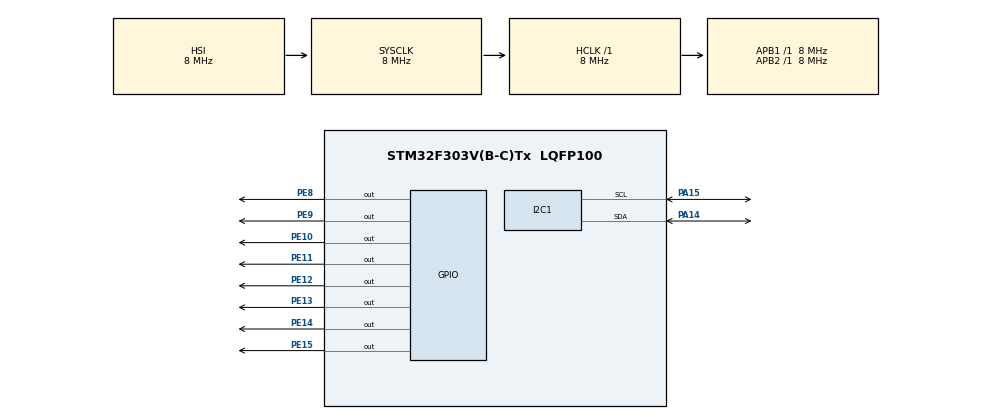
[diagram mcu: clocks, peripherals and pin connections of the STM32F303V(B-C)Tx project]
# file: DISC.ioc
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Mcu.Family=STM32F3
Mcu.Name=STM32F303V(B-C)Tx
Mcu.Package=LQFP100
NVIC.I2C1_ER_IRQn=true\:0\:0\:false\:false\:true\:true
NVIC.I2C1_EV_IRQn=true\:0\:0\:false\:false\:true\:true
NVIC.PriorityGroup=NVIC_PRIORITYGROUP_4
PA14.GPIO_PuPdOD=GPIO_NOPULL
PA14.Mode=I2C
PA14.Signal=I2C1_SDA
PA15.GPIO_PuPdOD=GPIO_NOPULL
PA15.Mode=I2C
PA15.Signal=I2C1_SCL
PE10.Signal=GPIO_Output
PE11.Signal=GPIO_Output
PE12.Signal=GPIO_Output
PE13.Signal=GPIO_Output
PE14.Signal=GPIO_Output
PE15.Signal=GPIO_Output
PE8.Signal=GPIO_Output
PE9.Signal=GPIO_Output
ProjectManager.HeapSize=0x200
ProjectManager.StackSize=0x400
ProjectManager.TargetToolchain=TrueSTUDIO
RCC.AHBFreq_Value=8000000
RCC.APB1Freq_Value=8000000
RCC.APB2Freq_Value=8000000
RCC.CortexFreq_Value=8000000
RCC.HSE_VALUE=8000000
RCC.HSI_VALUE=8000000
RCC.LSE_VALUE=32768
RCC.SYSCLKFreq_VALUE=8000000
TIM6.Period=500
TIM6.Prescaler=8000
TIM7.Period=1000
TIM7.Prescaler=8000
VP_TIM6_VS_ClockSourceINT.Mode=Enable_Timer
VP_TIM7_VS_ClockSourceINT.Mode=Enable_Timer
board=DISC

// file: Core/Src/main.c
/**
  ******************************************************************************
  * @file           : main.c
  * @brief          : Main program body
  ******************************************************************************
  ** This notice applies to any and all portions of this file
  * that are not between comment pairs USER CODE BEGIN and
  * USER CODE END. Other portions of this file, whether
  * inserted by the user or by software development tools
  * are owned by their respective copyright owners.
  *
  * COPYRIGHT(c) 2018 STMicroelectronics
  *
  * Redistribution and use in source and binary forms, with or without modification,
  * are permitted provided that the following conditions are met:
  *   1. Redistributions of source code must retain the above copyright notice,
  *      this list of conditions and the following disclaimer.
  *   2. Redistributions in binary form must reproduce the above copyright notice,
  *      this list of conditions and the following disclaimer in the documentation
  *      and/or other materials provided with the distribution.
  *   3. Neither the name of STMicroelectronics nor the names of its contributors
  *      may be used to endorse or promote products derived from this software
  *      without specific prior written permission.
  *
  * THIS SOFTWARE IS PROVIDED BY THE COPYRIGHT HOLDERS AND CONTRIBUTORS "AS IS"
  * AND ANY EXPRESS OR IMPLIED WARRANTIES, INCLUDING, BUT NOT LIMITED TO, THE
  * IMPLIED WARRANTIES OF MERCHANTABILITY AND FITNESS FOR A PARTICULAR PURPOSE ARE
  * DISCLAIMED. IN NO EVENT SHALL THE COPYRIGHT HOLDER OR CONTRIBUTORS BE LIABLE
  * FOR ANY DIRECT, INDIRECT, INCIDENTAL, SPECIAL, EXEMPLARY, OR CONSEQUENTIAL
  * DAMAGES (INCLUDING, BUT NOT LIMITED TO, PROCUREMENT OF SUBSTITUTE GOODS OR
  * SERVICES; LOSS OF USE, DATA, OR PROFITS; OR BUSINESS INTERRUPTION) HOWEVER
  * CAUSED AND ON ANY THEORY OF LIABILITY, WHETHER IN CONTRACT, STRICT LIABILITY,
  * OR TORT (INCLUDING NEGLIGENCE OR OTHERWISE) ARISING IN ANY WAY OUT OF THE USE
  * OF THIS SOFTWARE, EVEN IF ADVISED OF THE POSSIBILITY OF SUCH DAMAGE.
  *
  ******************************************************************************
  */
#include "main.h"
#include "stm32f3xx_hal.h"

I2C_HandleTypeDef hi2c1;

TIM_HandleTypeDef htim6;
TIM_HandleTypeDef htim7;

/* USER CODE BEGIN PV */
/* Private variables ---------------------------------------------------------*/

/* USER CODE END PV */

void SystemClock_Config(void);
static void MX_GPIO_Init(void);
static void MX_I2C1_Init(void);
static void MX_TIM6_Init(void);
static void MX_TIM7_Init(void);

/* USER CODE BEGIN PFP */
/* Private function prototypes -----------------------------------------------*/

/* USER CODE END PFP */

/* USER CODE BEGIN 0 */
void ClockSet(void);
void ClockRead(void);

//***********************************************
uint8_t sec[2] = {0x00, 0x00}; //секунды
uint8_t min[2] = {0x01, 0x10}; //минуты
uint8_t hour[2] = {0x02, 0x14}; //часы
uint8_t hourRX[1] = {0x02}; // часы на чтение
uint32_t i2cRX; // переменная на чтение
uint8_t i2c;
/* USER CODE END 0 */

int main(void)
{

  /* MCU Configuration----------------------------------------------------------*/

  /* Reset of all peripherals, Initializes the Flash interface and the Systick. */
  HAL_Init();

  /* Configure the system clock */
  SystemClock_Config();

  /* Initialize all configured peripherals */
  MX_GPIO_Init();
  MX_I2C1_Init();
  MX_TIM6_Init();
  MX_TIM7_Init();
  /* USER CODE BEGIN 2 */
  HAL_TIM_Base_Start(&htim6);
  HAL_TIM_Base_Start(&htim7);
  HAL_TIM_Base_Start_IT(&htim6);
  HAL_TIM_Base_Start_IT(&htim7);
  /* USER CODE END 2 */

  /* Infinite loop */
  /* USER CODE BEGIN WHILE */

  HAL_Delay(2000);
  //ClockSet();
  ClockRead();

  while (1)
  {
	  //HAL_GPIO_TogglePin(GPIOE, GPIO_PIN_8|GPIO_PIN_9|GPIO_PIN_10|GPIO_PIN_11|GPIO_PIN_12|GPIO_PIN_13|GPIO_PIN_14|GPIO_PIN_15);
	  HAL_Delay(10);
	  HAL_I2C_Master_Receive(&hi2c1, 0b1101000 << 1, &i2cRX, 2, 10);
	  i2c = (uint8_t)i2cRX;
  /* USER CODE END WHILE */

  }

}

void SystemClock_Config(void)
{

  RCC_OscInitTypeDef RCC_OscInitStruct;
  RCC_ClkInitTypeDef RCC_ClkInitStruct;
  RCC_PeriphCLKInitTypeDef PeriphClkInit;

    /**Initializes the CPU, AHB and APB busses clocks
    */
  RCC_OscInitStruct.OscillatorType = RCC_OSCILLATORTYPE_HSI;
  RCC_OscInitStruct.HSIState = RCC_HSI_ON;
  RCC_OscInitStruct.HSICalibrationValue = 16;
  RCC_OscInitStruct.PLL.PLLState = RCC_PLL_NONE;
  if (HAL_RCC_OscConfig(&RCC_OscInitStruct) != HAL_OK)
  {
    _Error_Handler(__FILE__, __LINE__);
  }

    /**Initializes the CPU, AHB and APB busses clocks
    */
  RCC_ClkInitStruct.ClockType = RCC_CLOCKTYPE_HCLK|RCC_CLOCKTYPE_SYSCLK
                              |RCC_CLOCKTYPE_PCLK1|RCC_CLOCKTYPE_PCLK2;
  RCC_ClkInitStruct.SYSCLKSource = RCC_SYSCLKSOURCE_HSI;
  RCC_ClkInitStruct.AHBCLKDivider = RCC_SYSCLK_DIV1;
  RCC_ClkInitStruct.APB1CLKDivider = RCC_HCLK_DIV1;
  RCC_ClkInitStruct.APB2CLKDivider = RCC_HCLK_DIV1;

  if (HAL_RCC_ClockConfig(&RCC_ClkInitStruct, FLASH_LATENCY_0) != HAL_OK)
  {
    _Error_Handler(__FILE__, __LINE__);
  }

  PeriphClkInit.PeriphClockSelection = RCC_PERIPHCLK_I2C1;
  PeriphClkInit.I2c1ClockSelection = RCC_I2C1CLKSOURCE_HSI;
  if (HAL_RCCEx_PeriphCLKConfig(&PeriphClkInit) != HAL_OK)
  {
    _Error_Handler(__FILE__, __LINE__);
  }

    /**Configure the Systick interrupt time
    */
  HAL_SYSTICK_Config(HAL_RCC_GetHCLKFreq()/1000);

    /**Configure the Systick
    */
  HAL_SYSTICK_CLKSourceConfig(SYSTICK_CLKSOURCE_HCLK);

  /* SysTick_IRQn interrupt configuration */
  HAL_NVIC_SetPriority(SysTick_IRQn, 0, 0);
}

/* I2C1 init function */
static void MX_I2C1_Init(void)
{

  hi2c1.Instance = I2C1;
  hi2c1.Init.Timing = 0x2000090E;
  hi2c1.Init.OwnAddress1 = 0;
  hi2c1.Init.AddressingMode = I2C_ADDRESSINGMODE_7BIT;
  hi2c1.Init.DualAddressMode = I2C_DUALADDRESS_DISABLE;
  hi2c1.Init.OwnAddress2 = 0;
  hi2c1.Init.OwnAddress2Masks = I2C_OA2_NOMASK;
  hi2c1.Init.GeneralCallMode = I2C_GENERALCALL_DISABLE;
  hi2c1.Init.NoStretchMode = I2C_NOSTRETCH_DISABLE;
  if (HAL_I2C_Init(&hi2c1) != HAL_OK)
  {
    _Error_Handler(__FILE__, __LINE__);
  }

    /**Configure Analogue filter
    */
  if (HAL_I2CEx_ConfigAnalogFilter(&hi2c1, I2C_ANALOGFILTER_ENABLE) != HAL_OK)
  {
    _Error_Handler(__FILE__, __LINE__);
  }

    /**Configure Digital filter
    */
  if (HAL_I2CEx_ConfigDigitalFilter(&hi2c1, 0) != HAL_OK)
  {
    _Error_Handler(__FILE__, __LINE__);
  }

}

/* TIM6 init function */
static void MX_TIM6_Init(void)
{

  TIM_MasterConfigTypeDef sMasterConfig;

  htim6.Instance = TIM6;
  htim6.Init.Prescaler = 8000;
  htim6.Init.CounterMode = TIM_COUNTERMODE_UP;
  htim6.Init.Period = 500;
  htim6.Init.AutoReloadPreload = TIM_AUTORELOAD_PRELOAD_DISABLE;
  if (HAL_TIM_Base_Init(&htim6) != HAL_OK)
  {
    _Error_Handler(__FILE__, __LINE__);
  }

  sMasterConfig.MasterOutputTrigger = TIM_TRGO_RESET;
  sMasterConfig.MasterSlaveMode = TIM_MASTERSLAVEMODE_DISABLE;
  if (HAL_TIMEx_MasterConfigSynchronization(&htim6, &sMasterConfig) != HAL_OK)
  {
    _Error_Handler(__FILE__, __LINE__);
  }

}

/* TIM7 init function */
static void MX_TIM7_Init(void)
{

  TIM_MasterConfigTypeDef sMasterConfig;

  htim7.Instance = TIM7;
  htim7.Init.Prescaler = 8000;
  htim7.Init.CounterMode = TIM_COUNTERMODE_UP;
  htim7.Init.Period = 1000;
  htim7.Init.AutoReloadPreload = TIM_AUTORELOAD_PRELOAD_DISABLE;
  if (HAL_TIM_Base_Init(&htim7) != HAL_OK)
  {
    _Error_Handler(__FILE__, __LINE__);
  }

  sMasterConfig.MasterOutputTrigger = TIM_TRGO_RESET;
  sMasterConfig.MasterSlaveMode = TIM_MASTERSLAVEMODE_DISABLE;
  if (HAL_TIMEx_MasterConfigSynchronization(&htim7, &sMasterConfig) != HAL_OK)
  {
    _Error_Handler(__FILE__, __LINE__);
  }

}

/** Configure pins as
        * Analog
        * Input
        * Output
        * EVENT_OUT
        * EXTI
*/
static void MX_GPIO_Init(void)
{

  GPIO_InitTypeDef GPIO_InitStruct;

  /* GPIO Ports Clock Enable */
  __HAL_RCC_GPIOE_CLK_ENABLE();
  __HAL_RCC_GPIOA_CLK_ENABLE();

  /*Configure GPIO pin Output Level */
  HAL_GPIO_WritePin(GPIOE, GPIO_PIN_8|GPIO_PIN_9|GPIO_PIN_10|GPIO_PIN_11
                          |GPIO_PIN_12|GPIO_PIN_13|GPIO_PIN_14|GPIO_PIN_15, GPIO_PIN_RESET);

  /*Configure GPIO pins : PE8 PE9 PE10 PE11
                           PE12 PE13 PE14 PE15 */
  GPIO_InitStruct.Pin = GPIO_PIN_8|GPIO_PIN_9|GPIO_PIN_10|GPIO_PIN_11
                          |GPIO_PIN_12|GPIO_PIN_13|GPIO_PIN_14|GPIO_PIN_15;
  GPIO_InitStruct.Mode = GPIO_MODE_OUTPUT_PP;
  GPIO_InitStruct.Pull = GPIO_NOPULL;
  GPIO_InitStruct.Speed = GPIO_SPEED_FREQ_LOW;
  HAL_GPIO_Init(GPIOE, &GPIO_InitStruct);

}

/* USER CODE BEGIN 4 */
void ClockSet(void)
{
	HAL_I2C_Master_Transmit(&hi2c1,0b1101000 << 1, sec, 3, 10); //запись секунд
	HAL_I2C_Master_Transmit(&hi2c1,0b1101000 << 1, min, 3, 10); //запись минут
	HAL_I2C_Master_Transmit(&hi2c1,0b1101000 << 1, hour, 3, 10); //запись часов
}
void ClockRead(void)
{
	//HAL_I2C_Master_Receive(&hi2c1, 0b1101000 << 1, 0x02, 2, 10);
}
/* USER CODE END 4 */

void _Error_Handler(char *file, int line)
{
  while(1)
  {
  }
}

/************************ (C) COPYRIGHT STMicroelectronics *****END OF FILE****/
